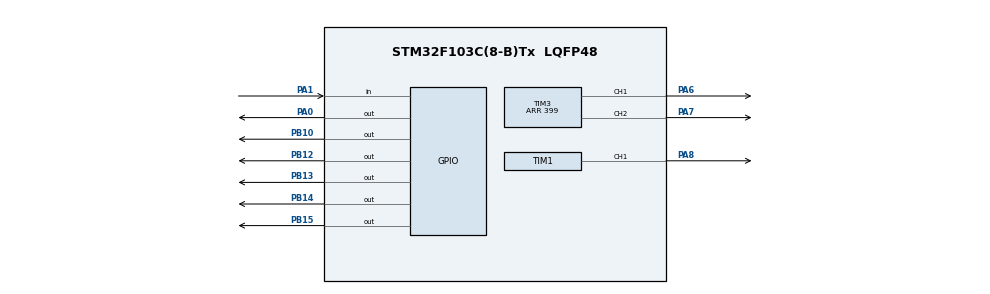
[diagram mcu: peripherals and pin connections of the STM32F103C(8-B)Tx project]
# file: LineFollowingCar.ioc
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Mcu.Family=STM32F1
Mcu.Name=STM32F103C(8-B)Tx
Mcu.Package=LQFP48
NVIC.PriorityGroup=NVIC_PRIORITYGROUP_4
PA0-WKUP.Signal=GPIO_Output
PA1.Signal=GPIO_Input
PA13.Mode=Serial_Wire
PA13.Signal=SYS_JTMS-SWDIO
PA14.Mode=Serial_Wire
PA14.Signal=SYS_JTCK-SWCLK
PA6.Signal=S_TIM3_CH1
PA7.Signal=S_TIM3_CH2
PA8.Signal=S_TIM1_CH1
PB10.Signal=GPIO_Output
PB12.Signal=GPIO_Output
PB13.Signal=GPIO_Output
PB14.Signal=GPIO_Output
PB15.Signal=GPIO_Output
ProjectManager.HeapSize=0x200
ProjectManager.StackSize=0x400
ProjectManager.TargetToolchain=CMake
RCC.APB1Freq_Value=8000000
RCC.APB2Freq_Value=8000000
SH.S_TIM1_CH1.0=TIM1_CH1,PWM Generation1 CH1
SH.S_TIM3_CH1.0=TIM3_CH1,PWM Generation1 CH1
SH.S_TIM3_CH2.0=TIM3_CH2,PWM Generation2 CH2
TIM1.Channel-PWM\ Generation1\ CH1=TIM_CHANNEL_1
TIM1.Period=19999
TIM1.Prescaler=7
TIM1.Pulse-PWM\ Generation1\ CH1=1500
TIM2.Prescaler=7
TIM3.Channel-PWM\ Generation1\ CH1=TIM_CHANNEL_1
TIM3.Channel-PWM\ Generation2\ CH2=TIM_CHANNEL_2
TIM3.Period=399
VP_TIM1_VS_ClockSourceINT.Mode=Internal
VP_TIM2_VS_ClockSourceINT.Mode=Internal
VP_TIM3_VS_ClockSourceINT.Mode=Internal
board=custom

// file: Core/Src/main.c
/* USER CODE BEGIN Header */
/**
  ******************************************************************************
  * @file           : main.c
  * @brief          : Main program body
  ******************************************************************************
  * @attention
  *
  * Copyright (c) 2026 STMicroelectronics.
  * All rights reserved.
  *
  * This software is licensed under terms that can be found in the LICENSE file
  * in the root directory of this software component.
  * If no LICENSE file comes with this software, it is provided AS-IS.
  *
  ******************************************************************************
  */
/* USER CODE END Header */
#include "main.h"

TIM_HandleTypeDef htim1;
TIM_HandleTypeDef htim2;
TIM_HandleTypeDef htim3;

/* USER CODE BEGIN PV */

volatile uint32_t echo_us = 0;
volatile float distance_cm = 0.0f;
volatile uint8_t sensor_ok = 0;
volatile uint8_t obstacle_detected = 0;
volatile float right_distance = 0.0f;
volatile float left_distance = 0.0f;
volatile uint8_t right_obstacle_detected = 0;
volatile uint8_t left_obstacle_detected = 0;

/* USER CODE END PV */

void SystemClock_Config(void);
static void MX_GPIO_Init(void);
static void MX_TIM3_Init(void);
static void MX_TIM2_Init(void);
static void MX_TIM1_Init(void);

/* USER CODE BEGIN 0 */

static uint32_t TIMER_GetMicros(void)
{
    return __HAL_TIM_GET_COUNTER(&htim2);
}

static void TIMER_DelayMicros(uint16_t micros)
{

    uint32_t start = (uint16_t)TIMER_GetMicros();
    while ((uint16_t)(TIMER_GetMicros() - start) < micros){

    }
}

static uint8_t SENSOR_ReadDistance(void)
{

    // Reject a measurement if Echo is already HIGH.
    if (HAL_GPIO_ReadPin(GPIOA, GPIO_PIN_1) == GPIO_PIN_SET)
        return 0;

    HAL_GPIO_WritePin(GPIOA, GPIO_PIN_0, GPIO_PIN_RESET);
    TIMER_DelayMicros(2);

    // Send trigger pulse
    HAL_GPIO_WritePin(GPIOA, GPIO_PIN_0, GPIO_PIN_SET);
    TIMER_DelayMicros(10); // 10 microseconds pulse
    HAL_GPIO_WritePin(GPIOA, GPIO_PIN_0, GPIO_PIN_RESET);

    // Wait for echo start
    uint32_t start_time = (uint16_t)TIMER_GetMicros();
    while (HAL_GPIO_ReadPin(GPIOA, GPIO_PIN_1) == GPIO_PIN_RESET)
    {
        if ((uint16_t)(TIMER_GetMicros() - start_time) >= 30000) // 30 ms timeout
        {
            return 0; // Timeout, no echo received
        }
    }

    // Measure echo duration
    uint32_t echo_start = (uint16_t)TIMER_GetMicros();
    while (HAL_GPIO_ReadPin(GPIOA, GPIO_PIN_1) == GPIO_PIN_SET)
    {
        if ((uint16_t)(TIMER_GetMicros() - echo_start) >= 30000) // 30 ms timeout
        {
            return 0; // Timeout, echo too long
        }
    }
    uint32_t echo_end = (uint16_t)TIMER_GetMicros();

    // Calculate distance in cm
    echo_us = (uint16_t)(echo_end - echo_start);
    distance_cm = (float)echo_us / 58.0f; // Speed of sound: 343 m/s

    return 1; // Successful read
}

static void car_stop(void)
{
    HAL_GPIO_WritePin(GPIOB, GPIO_PIN_10, GPIO_PIN_RESET);
    __HAL_TIM_SET_COMPARE(&htim3, TIM_CHANNEL_1, 0);
    __HAL_TIM_SET_COMPARE(&htim3, TIM_CHANNEL_2, 0);
}

static void car_forward(void)
{
    // A: left motor. B: right motor.
    HAL_GPIO_WritePin(GPIOB, GPIO_PIN_12, GPIO_PIN_SET);
    HAL_GPIO_WritePin(GPIOB, GPIO_PIN_13, GPIO_PIN_RESET);
    HAL_GPIO_WritePin(GPIOB, GPIO_PIN_14, GPIO_PIN_RESET);
    HAL_GPIO_WritePin(GPIOB, GPIO_PIN_15, GPIO_PIN_SET);

    __HAL_TIM_SET_COMPARE(&htim3, TIM_CHANNEL_1, 200);
    __HAL_TIM_SET_COMPARE(&htim3, TIM_CHANNEL_2, 200);

    HAL_GPIO_WritePin(GPIOB, GPIO_PIN_10, GPIO_PIN_SET);
}

// turn_left = 1: left; turn_left = 0: right.
static void car_turn(uint8_t turn_left)
{
    car_stop();
    HAL_Delay(100);

    // Both motors retain their forward directions.
    HAL_GPIO_WritePin(GPIOB, GPIO_PIN_12, GPIO_PIN_SET);
    HAL_GPIO_WritePin(GPIOB, GPIO_PIN_13, GPIO_PIN_RESET);
    HAL_GPIO_WritePin(GPIOB, GPIO_PIN_14, GPIO_PIN_RESET);
    HAL_GPIO_WritePin(GPIOB, GPIO_PIN_15, GPIO_PIN_SET);

    // Move only the outside wheel.
    __HAL_TIM_SET_COMPARE(&htim3, TIM_CHANNEL_1,
                          turn_left ? 0 : 200);
    __HAL_TIM_SET_COMPARE(&htim3, TIM_CHANNEL_2,
                          turn_left ? 200 : 0);

    HAL_GPIO_WritePin(GPIOB, GPIO_PIN_10, GPIO_PIN_SET);
    HAL_Delay(300);

    car_stop();
    HAL_Delay(100);
}

static void car_backward(void){

  HAL_GPIO_WritePin(GPIOB, GPIO_PIN_12, GPIO_PIN_RESET);
  HAL_GPIO_WritePin(GPIOB, GPIO_PIN_13, GPIO_PIN_SET);

  HAL_GPIO_WritePin(GPIOB, GPIO_PIN_14, GPIO_PIN_SET);
  HAL_GPIO_WritePin(GPIOB, GPIO_PIN_15, GPIO_PIN_RESET);

  __HAL_TIM_SET_COMPARE(&htim3, TIM_CHANNEL_1, 200);
  __HAL_TIM_SET_COMPARE(&htim3, TIM_CHANNEL_2, 200);

  HAL_GPIO_WritePin(GPIOB, GPIO_PIN_10, GPIO_PIN_SET);
}

/* USER CODE END 0 */

int main(void)
{

  /* MCU Configuration--------------------------------------------------------*/

  /* Reset of all peripherals, Initializes the Flash interface and the Systick. */
  HAL_Init();

  /* Configure the system clock */
  SystemClock_Config();

  /* Initialize all configured peripherals */
  MX_GPIO_Init();
  MX_TIM3_Init();
  MX_TIM2_Init();
  MX_TIM1_Init();
  /* USER CODE BEGIN 2 */

  HAL_GPIO_WritePin(GPIOB, GPIO_PIN_10, GPIO_PIN_RESET);

  if (HAL_TIM_Base_Start(&htim2) != HAL_OK)
  {
      Error_Handler();
  }

// Request the servo's centre position: 1500 microseconds.
__HAL_TIM_SET_COMPARE(&htim1, TIM_CHANNEL_1, 1500);

// Start generating the servo control pulses on PA8.
  if (HAL_TIM_PWM_Start(&htim1, TIM_CHANNEL_1) != HAL_OK)
  {
      Error_Handler();
  }

  if (HAL_TIM_PWM_Start(&htim3, TIM_CHANNEL_1) != HAL_OK ||
   HAL_TIM_PWM_Start(&htim3, TIM_CHANNEL_2) != HAL_OK)
  {
      Error_Handler();
  }

  car_stop();
  HAL_Delay(2000);

  /* USER CODE END 2 */

  /* Infinite loop */
  while (1)
  {

    /* USER CODE BEGIN 3 */

    sensor_ok = SENSOR_ReadDistance();
    obstacle_detected = (sensor_ok == 0 || distance_cm <= 40.0f);

    if (sensor_ok == 0 )
    {
        car_stop();
        HAL_Delay(200);
        continue;
    }
     if (obstacle_detected == 0)
    {
        car_forward();
        HAL_Delay(200);
        continue;
    }

    car_stop();
    HAL_Delay(200);

    __HAL_TIM_SET_COMPARE(&htim1, TIM_CHANNEL_1, 1000);
    HAL_Delay(500);

    sensor_ok = SENSOR_ReadDistance();
    left_distance = sensor_ok ? distance_cm : 0.0f;
    left_obstacle_detected = (sensor_ok == 0 || distance_cm <= 40.0f);

    __HAL_TIM_SET_COMPARE(&htim1, TIM_CHANNEL_1, 2000);
    HAL_Delay(500);

    sensor_ok = SENSOR_ReadDistance();
    right_distance = sensor_ok ? distance_cm : 0.0f;
    right_obstacle_detected = (sensor_ok == 0 || distance_cm <= 40.0f);

    if(!left_obstacle_detected && (right_obstacle_detected || left_distance > right_distance)){
        car_turn(1);
        HAL_Delay(200);
    }
    else if(!right_obstacle_detected){
        car_turn(0);
        HAL_Delay(200);
    }
    else if(left_obstacle_detected && right_obstacle_detected && obstacle_detected ){

        car_backward();
        HAL_Delay(300);
        car_stop();
        HAL_Delay(200);
    }
    else{
        car_stop();
        HAL_Delay(200);
    }

  }
  /* USER CODE END 3 */
}

void SystemClock_Config(void)
{
  RCC_OscInitTypeDef RCC_OscInitStruct = {0};
  RCC_ClkInitTypeDef RCC_ClkInitStruct = {0};

  /** Initializes the RCC Oscillators according to the specified parameters
  * in the RCC_OscInitTypeDef structure.
  */
  RCC_OscInitStruct.OscillatorType = RCC_OSCILLATORTYPE_HSI;
  RCC_OscInitStruct.HSIState = RCC_HSI_ON;
  RCC_OscInitStruct.HSICalibrationValue = RCC_HSICALIBRATION_DEFAULT;
  RCC_OscInitStruct.PLL.PLLState = RCC_PLL_NONE;
  if (HAL_RCC_OscConfig(&RCC_OscInitStruct) != HAL_OK)
  {
    Error_Handler();
  }

  /** Initializes the CPU, AHB and APB buses clocks
  */
  RCC_ClkInitStruct.ClockType = RCC_CLOCKTYPE_HCLK|RCC_CLOCKTYPE_SYSCLK
                              |RCC_CLOCKTYPE_PCLK1|RCC_CLOCKTYPE_PCLK2;
  RCC_ClkInitStruct.SYSCLKSource = RCC_SYSCLKSOURCE_HSI;
  RCC_ClkInitStruct.AHBCLKDivider = RCC_SYSCLK_DIV1;
  RCC_ClkInitStruct.APB1CLKDivider = RCC_HCLK_DIV1;
  RCC_ClkInitStruct.APB2CLKDivider = RCC_HCLK_DIV1;

  if (HAL_RCC_ClockConfig(&RCC_ClkInitStruct, FLASH_LATENCY_0) != HAL_OK)
  {
    Error_Handler();
  }
}

static void MX_TIM1_Init(void)
{

  TIM_ClockConfigTypeDef sClockSourceConfig = {0};
  TIM_MasterConfigTypeDef sMasterConfig = {0};
  TIM_OC_InitTypeDef sConfigOC = {0};
  TIM_BreakDeadTimeConfigTypeDef sBreakDeadTimeConfig = {0};

  htim1.Instance = TIM1;
  htim1.Init.Prescaler = 7;
  htim1.Init.CounterMode = TIM_COUNTERMODE_UP;
  htim1.Init.Period = 19999;
  htim1.Init.ClockDivision = TIM_CLOCKDIVISION_DIV1;
  htim1.Init.RepetitionCounter = 0;
  htim1.Init.AutoReloadPreload = TIM_AUTORELOAD_PRELOAD_DISABLE;
  if (HAL_TIM_Base_Init(&htim1) != HAL_OK)
  {
    Error_Handler();
  }
  sClockSourceConfig.ClockSource = TIM_CLOCKSOURCE_INTERNAL;
  if (HAL_TIM_ConfigClockSource(&htim1, &sClockSourceConfig) != HAL_OK)
  {
    Error_Handler();
  }
  if (HAL_TIM_PWM_Init(&htim1) != HAL_OK)
  {
    Error_Handler();
  }
  sMasterConfig.MasterOutputTrigger = TIM_TRGO_RESET;
  sMasterConfig.MasterSlaveMode = TIM_MASTERSLAVEMODE_DISABLE;
  if (HAL_TIMEx_MasterConfigSynchronization(&htim1, &sMasterConfig) != HAL_OK)
  {
    Error_Handler();
  }
  sConfigOC.OCMode = TIM_OCMODE_PWM1;
  sConfigOC.Pulse = 1500;
  sConfigOC.OCPolarity = TIM_OCPOLARITY_HIGH;
  sConfigOC.OCNPolarity = TIM_OCNPOLARITY_HIGH;
  sConfigOC.OCFastMode = TIM_OCFAST_DISABLE;
  sConfigOC.OCIdleState = TIM_OCIDLESTATE_RESET;
  sConfigOC.OCNIdleState = TIM_OCNIDLESTATE_RESET;
  if (HAL_TIM_PWM_ConfigChannel(&htim1, &sConfigOC, TIM_CHANNEL_1) != HAL_OK)
  {
    Error_Handler();
  }
  sBreakDeadTimeConfig.OffStateRunMode = TIM_OSSR_DISABLE;
  sBreakDeadTimeConfig.OffStateIDLEMode = TIM_OSSI_DISABLE;
  sBreakDeadTimeConfig.LockLevel = TIM_LOCKLEVEL_OFF;
  sBreakDeadTimeConfig.DeadTime = 0;
  sBreakDeadTimeConfig.BreakState = TIM_BREAK_DISABLE;
  sBreakDeadTimeConfig.BreakPolarity = TIM_BREAKPOLARITY_HIGH;
  sBreakDeadTimeConfig.AutomaticOutput = TIM_AUTOMATICOUTPUT_DISABLE;
  if (HAL_TIMEx_ConfigBreakDeadTime(&htim1, &sBreakDeadTimeConfig) != HAL_OK)
  {
    Error_Handler();
  }
  HAL_TIM_MspPostInit(&htim1);

}

static void MX_TIM2_Init(void)
{

  TIM_ClockConfigTypeDef sClockSourceConfig = {0};
  TIM_MasterConfigTypeDef sMasterConfig = {0};

  htim2.Instance = TIM2;
  htim2.Init.Prescaler = 7;
  htim2.Init.CounterMode = TIM_COUNTERMODE_UP;
  htim2.Init.Period = 65535;
  htim2.Init.ClockDivision = TIM_CLOCKDIVISION_DIV1;
  htim2.Init.AutoReloadPreload = TIM_AUTORELOAD_PRELOAD_DISABLE;
  if (HAL_TIM_Base_Init(&htim2) != HAL_OK)
  {
    Error_Handler();
  }
  sClockSourceConfig.ClockSource = TIM_CLOCKSOURCE_INTERNAL;
  if (HAL_TIM_ConfigClockSource(&htim2, &sClockSourceConfig) != HAL_OK)
  {
    Error_Handler();
  }
  sMasterConfig.MasterOutputTrigger = TIM_TRGO_RESET;
  sMasterConfig.MasterSlaveMode = TIM_MASTERSLAVEMODE_DISABLE;
  if (HAL_TIMEx_MasterConfigSynchronization(&htim2, &sMasterConfig) != HAL_OK)
  {
    Error_Handler();
  }

}

static void MX_TIM3_Init(void)
{

  TIM_ClockConfigTypeDef sClockSourceConfig = {0};
  TIM_MasterConfigTypeDef sMasterConfig = {0};
  TIM_OC_InitTypeDef sConfigOC = {0};

  htim3.Instance = TIM3;
  htim3.Init.Prescaler = 0;
  htim3.Init.CounterMode = TIM_COUNTERMODE_UP;
  htim3.Init.Period = 399;
  htim3.Init.ClockDivision = TIM_CLOCKDIVISION_DIV1;
  htim3.Init.AutoReloadPreload = TIM_AUTORELOAD_PRELOAD_DISABLE;
  if (HAL_TIM_Base_Init(&htim3) != HAL_OK)
  {
    Error_Handler();
  }
  sClockSourceConfig.ClockSource = TIM_CLOCKSOURCE_INTERNAL;
  if (HAL_TIM_ConfigClockSource(&htim3, &sClockSourceConfig) != HAL_OK)
  {
    Error_Handler();
  }
  if (HAL_TIM_PWM_Init(&htim3) != HAL_OK)
  {
    Error_Handler();
  }
  sMasterConfig.MasterOutputTrigger = TIM_TRGO_RESET;
  sMasterConfig.MasterSlaveMode = TIM_MASTERSLAVEMODE_DISABLE;
  if (HAL_TIMEx_MasterConfigSynchronization(&htim3, &sMasterConfig) != HAL_OK)
  {
    Error_Handler();
  }
  sConfigOC.OCMode = TIM_OCMODE_PWM1;
  sConfigOC.Pulse = 0;
  sConfigOC.OCPolarity = TIM_OCPOLARITY_HIGH;
  sConfigOC.OCFastMode = TIM_OCFAST_DISABLE;
  if (HAL_TIM_PWM_ConfigChannel(&htim3, &sConfigOC, TIM_CHANNEL_1) != HAL_OK)
  {
    Error_Handler();
  }
  if (HAL_TIM_PWM_ConfigChannel(&htim3, &sConfigOC, TIM_CHANNEL_2) != HAL_OK)
  {
    Error_Handler();
  }
  HAL_TIM_MspPostInit(&htim3);

}

static void MX_GPIO_Init(void)
{
  GPIO_InitTypeDef GPIO_InitStruct = {0};

  /* GPIO Ports Clock Enable */
  __HAL_RCC_GPIOA_CLK_ENABLE();
  __HAL_RCC_GPIOB_CLK_ENABLE();

  /*Configure GPIO pin Output Level */
  HAL_GPIO_WritePin(GPIOA, GPIO_PIN_0, GPIO_PIN_RESET);

  /*Configure GPIO pin Output Level */
  HAL_GPIO_WritePin(GPIOB, GPIO_PIN_10|GPIO_PIN_12|GPIO_PIN_13|GPIO_PIN_14
                          |GPIO_PIN_15, GPIO_PIN_RESET);

  /*Configure GPIO pin : PA0 */
  GPIO_InitStruct.Pin = GPIO_PIN_0;
  GPIO_InitStruct.Mode = GPIO_MODE_OUTPUT_PP;
  GPIO_InitStruct.Pull = GPIO_NOPULL;
  GPIO_InitStruct.Speed = GPIO_SPEED_FREQ_LOW;
  HAL_GPIO_Init(GPIOA, &GPIO_InitStruct);

  /*Configure GPIO pin : PA1 */
  GPIO_InitStruct.Pin = GPIO_PIN_1;
  GPIO_InitStruct.Mode = GPIO_MODE_INPUT;
  GPIO_InitStruct.Pull = GPIO_NOPULL;
  HAL_GPIO_Init(GPIOA, &GPIO_InitStruct);

  /*Configure GPIO pins : PB10 PB12 PB13 PB14
                           PB15 */
  GPIO_InitStruct.Pin = GPIO_PIN_10|GPIO_PIN_12|GPIO_PIN_13|GPIO_PIN_14
                          |GPIO_PIN_15;
  GPIO_InitStruct.Mode = GPIO_MODE_OUTPUT_PP;
  GPIO_InitStruct.Pull = GPIO_NOPULL;
  GPIO_InitStruct.Speed = GPIO_SPEED_FREQ_LOW;
  HAL_GPIO_Init(GPIOB, &GPIO_InitStruct);

}

void Error_Handler(void)
{
  __disable_irq();
  while (1)
  {
  }
}
